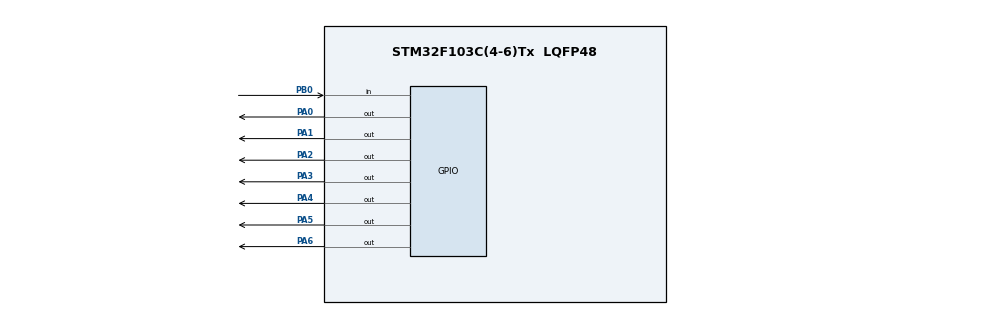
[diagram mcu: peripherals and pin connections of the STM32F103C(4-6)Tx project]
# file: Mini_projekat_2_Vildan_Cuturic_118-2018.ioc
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Mcu.Family=STM32F1
Mcu.Name=STM32F103C(4-6)Tx
Mcu.Package=LQFP48
NVIC.PriorityGroup=NVIC_PRIORITYGROUP_4
PA0-WKUP.Signal=GPIO_Output
PA1.Signal=GPIO_Output
PA2.Signal=GPIO_Output
PA3.Signal=GPIO_Output
PA4.Signal=GPIO_Output
PA5.Signal=GPIO_Output
PA6.Signal=GPIO_Output
PB0.Signal=GPIO_Input
ProjectManager.HeapSize=0x200
ProjectManager.StackSize=0x400
ProjectManager.TargetToolchain=STM32CubeIDE
RCC.APB1Freq_Value=8000000
RCC.APB2Freq_Value=8000000
board=custom

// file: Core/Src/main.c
/* USER CODE BEGIN Header */
/**
  ******************************************************************************
  * @file           : main.c
  * @brief          : Main program body
  ******************************************************************************
  * @attention
  *
  * Copyright (c) 2022 STMicroelectronics.
  * All rights reserved.
  *
  * This software is licensed under terms that can be found in the LICENSE file
  * in the root directory of this software component.
  * If no LICENSE file comes with this software, it is provided AS-IS.
  *
  ******************************************************************************
  */
/* USER CODE END Header */
#include "main.h"

/* USER CODE BEGIN Includes */
#define Output0 GPIO_PIN_0
#define Output1 GPIO_PIN_1
#define Output2 GPIO_PIN_2
#define Output3 GPIO_PIN_3
#define Output4 GPIO_PIN_4
#define Output5 GPIO_PIN_5
#define Output6 GPIO_PIN_6

#define Input1 GPIO_PIN_0

int values[] = {0b0000110, 0b0000110, 0b1111111};
/* USER CODE END Includes */

void SystemClock_Config(void);
static void MX_GPIO_Init(void);

int main(void)
{
  /* USER CODE BEGIN 1 */
	int i = 0;
	int buttonPressed = 0;
  /* USER CODE END 1 */

  /* MCU Configuration--------------------------------------------------------*/

  /* Reset of all peripherals, Initializes the Flash interface and the Systick. */
  HAL_Init();

  /* Configure the system clock */
  SystemClock_Config();

  /* Initialize all configured peripherals */
  MX_GPIO_Init();

  /* Infinite loop */
  /* USER CODE BEGIN WHILE */
  while (1)
  {
	  if(HAL_GPIO_ReadPin(GPIOB, Input1) == 1) {
		  if(buttonPressed == 0) {
			  GPIOA -> ODR = ~values[i];
			  i > 2 ? i = 0 : i++;
			  buttonPressed = 1;
		  }
	  }
	  else {
		  buttonPressed = 0;
	  }
    /* USER CODE END WHILE */

  }
}

void SystemClock_Config(void)
{
  RCC_OscInitTypeDef RCC_OscInitStruct = {0};
  RCC_ClkInitTypeDef RCC_ClkInitStruct = {0};

  /** Initializes the RCC Oscillators according to the specified parameters
  * in the RCC_OscInitTypeDef structure.
  */
  RCC_OscInitStruct.OscillatorType = RCC_OSCILLATORTYPE_HSI;
  RCC_OscInitStruct.HSIState = RCC_HSI_ON;
  RCC_OscInitStruct.HSICalibrationValue = RCC_HSICALIBRATION_DEFAULT;
  RCC_OscInitStruct.PLL.PLLState = RCC_PLL_NONE;
  if (HAL_RCC_OscConfig(&RCC_OscInitStruct) != HAL_OK)
  {
    Error_Handler();
  }

  /** Initializes the CPU, AHB and APB buses clocks
  */
  RCC_ClkInitStruct.ClockType = RCC_CLOCKTYPE_HCLK|RCC_CLOCKTYPE_SYSCLK
                              |RCC_CLOCKTYPE_PCLK1|RCC_CLOCKTYPE_PCLK2;
  RCC_ClkInitStruct.SYSCLKSource = RCC_SYSCLKSOURCE_HSI;
  RCC_ClkInitStruct.AHBCLKDivider = RCC_SYSCLK_DIV1;
  RCC_ClkInitStruct.APB1CLKDivider = RCC_HCLK_DIV1;
  RCC_ClkInitStruct.APB2CLKDivider = RCC_HCLK_DIV1;

  if (HAL_RCC_ClockConfig(&RCC_ClkInitStruct, FLASH_LATENCY_0) != HAL_OK)
  {
    Error_Handler();
  }
}

static void MX_GPIO_Init(void)
{
  GPIO_InitTypeDef GPIO_InitStruct = {0};

  /* GPIO Ports Clock Enable */
  __HAL_RCC_GPIOA_CLK_ENABLE();
  __HAL_RCC_GPIOB_CLK_ENABLE();

  /*Configure GPIO pin Output Level */
  HAL_GPIO_WritePin(GPIOA, GPIO_PIN_0|GPIO_PIN_1|GPIO_PIN_2|GPIO_PIN_3
                          |GPIO_PIN_4|GPIO_PIN_5|GPIO_PIN_6, GPIO_PIN_SET);

  /*Configure GPIO pins : PA0 PA1 PA2 PA3
                           PA4 PA5 PA6 */
  GPIO_InitStruct.Pin = GPIO_PIN_0|GPIO_PIN_1|GPIO_PIN_2|GPIO_PIN_3
                          |GPIO_PIN_4|GPIO_PIN_5|GPIO_PIN_6;
  GPIO_InitStruct.Mode = GPIO_MODE_OUTPUT_PP;
  GPIO_InitStruct.Pull = GPIO_NOPULL;
  GPIO_InitStruct.Speed = GPIO_SPEED_FREQ_LOW;
  HAL_GPIO_Init(GPIOA, &GPIO_InitStruct);

  /*Configure GPIO pin : PB0 */
  GPIO_InitStruct.Pin = GPIO_PIN_0;
  GPIO_InitStruct.Mode = GPIO_MODE_INPUT;
  GPIO_InitStruct.Pull = GPIO_NOPULL;
  HAL_GPIO_Init(GPIOB, &GPIO_InitStruct);

}

void Error_Handler(void)
{
  __disable_irq();
  while (1)
  {
  }
}
